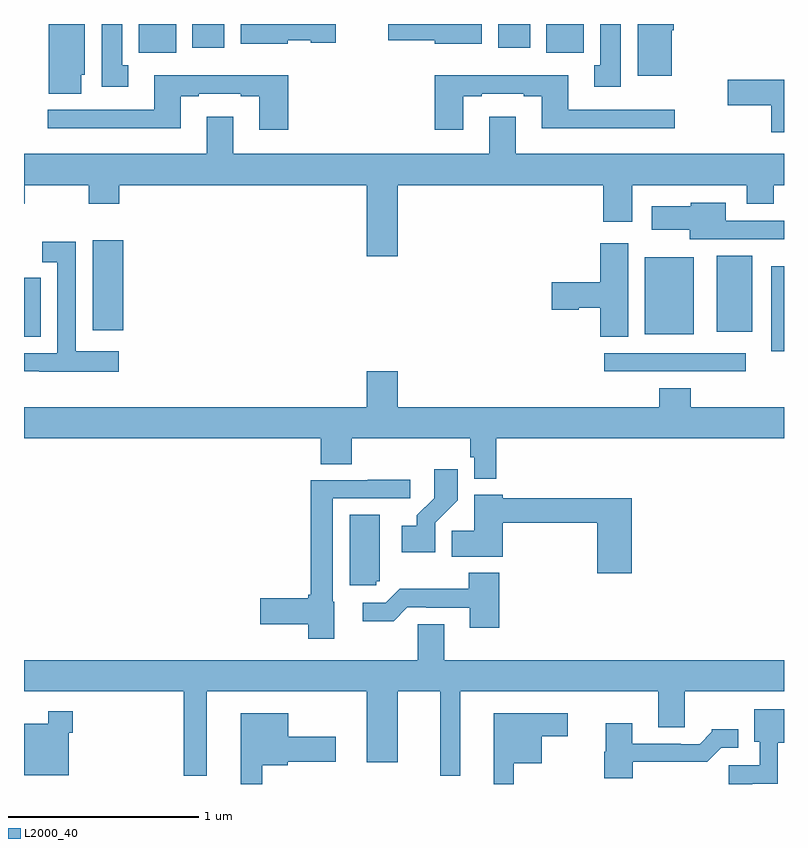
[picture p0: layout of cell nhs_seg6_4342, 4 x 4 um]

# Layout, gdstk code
import gdstk
lib = gdstk.Library(unit=1e-6, precision=1e-09)
def R(c, l, rs):  # rectangles x0, y0, x1, y1
    for r in rs: c.add(gdstk.rectangle(r[:2], r[2:], *l))
def P(c, l, *ps):  # polygons
    for p in ps: c.add(gdstk.Polygon(p, *l))
L2000_40 = (2000, 40)

nhs_seg6_4342 = lib.new_cell('nhs_seg6_4342')
R(nhs_seg6_4342, L2000_40, [(370.053,963.672,370.798,963.768), (370.934,963.777,371,964.225), (367,963.853,367.087,964.164), (370.268,963.866,370.525,964.273), (370.646,963.881,370.834,964.279), (367.361,963.888,367.522,964.363), (367.604,965.348,367.801,965.5), (369.749,965.348,369.946,965.5), (367.886,965.376,368.053,965.5), (369.497,965.376,369.664,965.5)])
P(nhs_seg6_4342, L2000_40, [(369.409,965.5),(368.918,965.5),(368.918,965.414),(369.162,965.414),(369.162,965.396),(369.409,965.396)],
  [(367.3,965.232),(367.321,965.232),(367.321,965.5),(367.13,965.5),(367.13,965.134),(367.3,965.134)],
  [(368.388,965.414),(368.508,965.414),(368.508,965.402),(368.641,965.402),(368.641,965.5),(368.141,965.5),(368.141,965.396),(368.388,965.396)],
  [(367.549,965.282),(367.516,965.282),(367.516,965.5),(367.409,965.5),(367.409,965.169),(367.549,965.169)],
  [(370.408,965.468),(370.421,965.468),(370.421,965.5),(370.229,965.5),(370.229,965.228),(370.408,965.228)],
  [(370.141,965.5),(370.034,965.5),(370.034,965.282),(370.001,965.282),(370.001,965.169),(370.141,965.169)],
  [(368.39,965.23),(367.685,965.23),(367.685,965.049),(367.125,965.049),(367.125,964.952),(367.825,964.952),(367.825,965.121),(367.921,965.121),(367.921,965.133),(368.141,965.133),(368.141,965.121),(368.237,965.121),(368.237,964.944),(368.39,964.944)],
  [(369.313,965.121),(369.409,965.121),(369.409,965.133),(369.629,965.133),(369.629,965.121),(369.725,965.121),(369.725,964.952),(370.426,964.952),(370.426,965.049),(369.865,965.049),(369.865,965.23),(369.161,965.23),(369.161,964.944),(369.313,964.944)],
  [(371,965.207),(370.704,965.207),(370.704,965.072),(370.934,965.072),(370.934,964.931),(371,964.931)],
  [(368.968,964.652),(370.049,964.652),(370.049,964.458),(370.201,964.458),(370.201,964.652),(370.805,964.652),(370.805,964.553),(370.945,964.553),(370.945,964.652),(371,964.652),(371,964.816),(369.589,964.816),(369.589,965.011),(369.449,965.011),(369.449,964.816),(368.101,964.816),(368.101,965.011),(367.961,965.011),(367.961,964.816),(367,964.816),(367,964.553),(367.005,964.553),(367.005,964.652),(367.342,964.652),(367.342,964.553),(367.502,964.553),(367.502,964.652),(368.804,964.652),(368.804,964.278),(368.968,964.278)],
  [(371,964.464),(370.693,964.464),(370.693,964.558),(370.509,964.558),(370.509,964.54),(370.305,964.54),(370.305,964.418),(370.505,964.418),(370.505,964.368),(371,964.368)],
  [(367.498,963.778),(367.272,963.778),(367.272,964.354),(367.095,964.354),(367.095,964.245),(367.176,964.245),(367.176,963.768),(367,963.768),(367,963.672),(367.079,963.672),(367.079,963.671),(367.498,963.671)],
  [(370.18,964.345),(370.034,964.345),(370.034,964.142),(369.777,964.142),(369.777,963.995),(369.92,963.995),(369.92,964.007),(370.034,964.007),(370.034,963.853),(370.18,963.853)],
  [(369.485,963.32),(371,963.32),(371,963.484),(370.508,963.484),(370.508,963.583),(370.343,963.583),(370.343,963.484),(368.968,963.484),(368.968,963.673),(368.804,963.673),(368.804,963.484),(367,963.484),(367,963.32),(368.561,963.32),(368.561,963.184),(368.726,963.184),(368.726,963.32),(369.349,963.32),(369.349,963.219),(369.369,963.219),(369.369,963.107),(369.485,963.107)],
  [(369.165,962.875),(369.284,962.994),(369.284,963.157),(369.159,963.157),(369.159,963.005),(369.068,962.915),(369.068,962.86),(368.988,962.86),(368.988,962.72),(369.165,962.72)],
  [(368.632,962.46),(368.625,962.46),(368.625,963.003),(369.034,963.003),(369.034,963.102),(368.809,963.102),(368.809,963.099),(368.509,963.099),(368.509,962.495),(368.496,962.495),(368.496,962.477),(368.244,962.477),(368.244,962.342),(368.496,962.342),(368.496,962.264),(368.632,962.264)],
  [(370.199,963.004),(369.521,963.004),(369.521,963.022),(369.371,963.022),(369.371,962.834),(369.25,962.834),(369.25,962.696),(369.521,962.696),(369.521,962.875),(370.016,962.875),(370.016,962.61),(370.199,962.61)],
  [(368.853,962.568),(368.872,962.568),(368.872,962.917),(368.714,962.917),(368.714,962.547),(368.853,962.547)],
  [(369.5,962.611),(369.34,962.611),(369.34,962.527),(368.977,962.527),(368.904,962.454),(368.784,962.454),(368.784,962.357),(368.945,962.357),(369.018,962.43),(369.118,962.43),(369.118,962.427),(369.347,962.427),(369.347,962.322),(369.5,962.322)],
  [(367.963,961.988),(368.804,961.988),(368.804,961.614),(368.968,961.614),(368.968,961.988),(369.191,961.988),(369.191,961.544),(369.295,961.544),(369.295,961.988),(370.337,961.988),(370.337,961.798),(370.477,961.798),(370.477,961.988),(371,961.988),(371,962.152),(369.211,962.152),(369.211,962.342),(369.072,962.342),(369.072,962.152),(367,962.152),(367,961.988),(367.842,961.988),(367.842,961.544),(367.963,961.544)],
  [(370.834,961.502),(370.968,961.502),(370.968,961.718),(371,961.718),(371,961.894),(370.844,961.894),(370.844,961.722),(370.872,961.722),(370.872,961.599),(370.709,961.599),(370.709,961.5),(370.834,961.5)],
  [(367.236,961.769),(367.256,961.769),(367.256,961.882),(367.128,961.882),(367.128,961.816),(367,961.816),(367,961.547),(367.236,961.547)],
  [(368.255,961.598),(368.388,961.598),(368.388,961.616),(368.641,961.616),(368.641,961.75),(368.392,961.75),(368.392,961.873),(368.141,961.873),(368.141,961.5),(368.255,961.5)],
  [(369.577,961.61),(369.724,961.61),(369.724,961.751),(369.862,961.751),(369.862,961.873),(369.473,961.873),(369.473,961.5),(369.577,961.5)],
  [(370.204,961.616),(370.595,961.616),(370.671,961.692),(370.759,961.692),(370.759,961.789),(370.62,961.789),(370.62,961.774),(370.556,961.71),(370.457,961.71),(370.457,961.713),(370.201,961.713),(370.201,961.819),(370.061,961.819),(370.061,961.671),(370.054,961.671),(370.054,961.529),(370.204,961.529)])

lib.write_gds('nhs_seg6_4342.gds')
